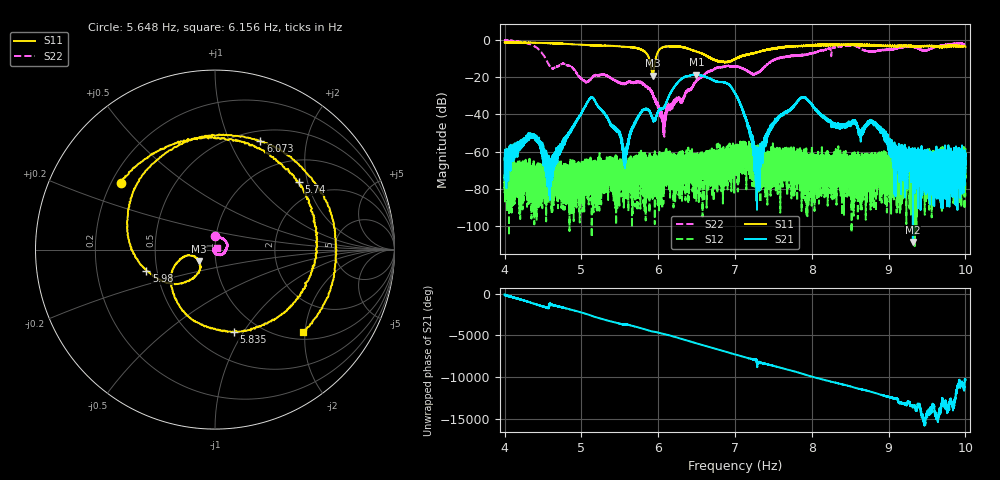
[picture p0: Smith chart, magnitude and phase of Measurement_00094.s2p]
!Created with skrf (http://scikit-rf.org).
# Hz S RI R 50.0
!freq ReS11 ImS11 ReS21 ImS21 ReS12 ImS12 ReS22 ImS22
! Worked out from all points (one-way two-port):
!   14001 points, 4 Hz to 10 Hz, reference 50 ohm
!   highest |S21| = -18.51 dB at 6.497 Hz (marker M1); lowest = -108.7 dB at 9.316 Hz (marker M2)
!   lowest |S11| = -19.2 dB at 5.93 Hz (marker M3), VSWR 1.25, Z = 41.5 - j5.36 ohm
!   |S11| at or under -10 dB: 5.883 Hz to 5.967 Hz (83.97 mHz wide, 1.42 % of centre); 6.688996 Hz to 6.701146 Hz (12.15 mHz wide, 0.181 % of centre); 6.707 Hz to 7.008 Hz (300.8 mHz wide, 4.39 % of centre) (the widest 3 of 11)
!   |S22| runs from -52.0 to -0.2 dB; largest |S21 - S12| = 0.12
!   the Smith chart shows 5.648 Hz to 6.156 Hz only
!   S11 on the Smith chart (normalised r, x): 5.648 Hz: 0.24, +0.30; 5.74 Hz: 1.51, +1.78; 5.835 Hz: 0.77, -0.91; 5.98 Hz: 0.44, -0.12; 6.073 Hz: 0.61, +1.31; 6.156 Hz: 1.16, -1.96
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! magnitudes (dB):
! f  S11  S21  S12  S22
! 4 Hz  -1.3  -75.2  -80.1  -0.3
! 4.351 Hz  -1.4  -51.4  -73.5  -2.5
! 4.586 Hz  -1.6  -71.4  -75.2  -13.9
! 5 Hz  -2.5  -39.4  -74.5  -20.7
! 5.152 Hz  -2.8  -31.1  -79.7  -19.6
! 5.566 Hz  -3.6  -68.9  -69.8  -23.6
! 5.648 Hz  -3.9  -49.4  -82.6  -22.6
! 5.74 Hz  -4.4  -41.3  -62.2  -22.3
! 5.835 Hz  -6.5  -36.8  -65.8  -24.7
! 5.93 Hz  -19.2  -42.0  -67.1  -29.5
! 5.98 Hz  -7.9  -40.5  -73.0  -33.9
! 6 Hz  -6.1  -38.4  -66.1  -34.4
! 6.073 Hz  -3.7  -36.4  -61.4  -42.8
! 6.156 Hz  -3.4  -28.8  -71.6  -37.8
! 6.497 Hz  -6.1  -18.5  -70.2  -21.7
! 7 Hz  -10.2  -28.6  -69.7  -13.9
! 7.294 Hz  -6.4  -68.4  -59.8  -17.6
! 7.573 Hz  -4.1  -41.5  -65.8  -9.7
! 8 Hz  -3.0  -34.6  -57.2  -6.9
! 9 Hz  -3.2  -56.7  -71.0  -5.0
! 9.316 Hz  -3.2  -108.7  -68.0  -3.5
! 10 Hz  -3.6  -62.3  -66.6  -3.0
